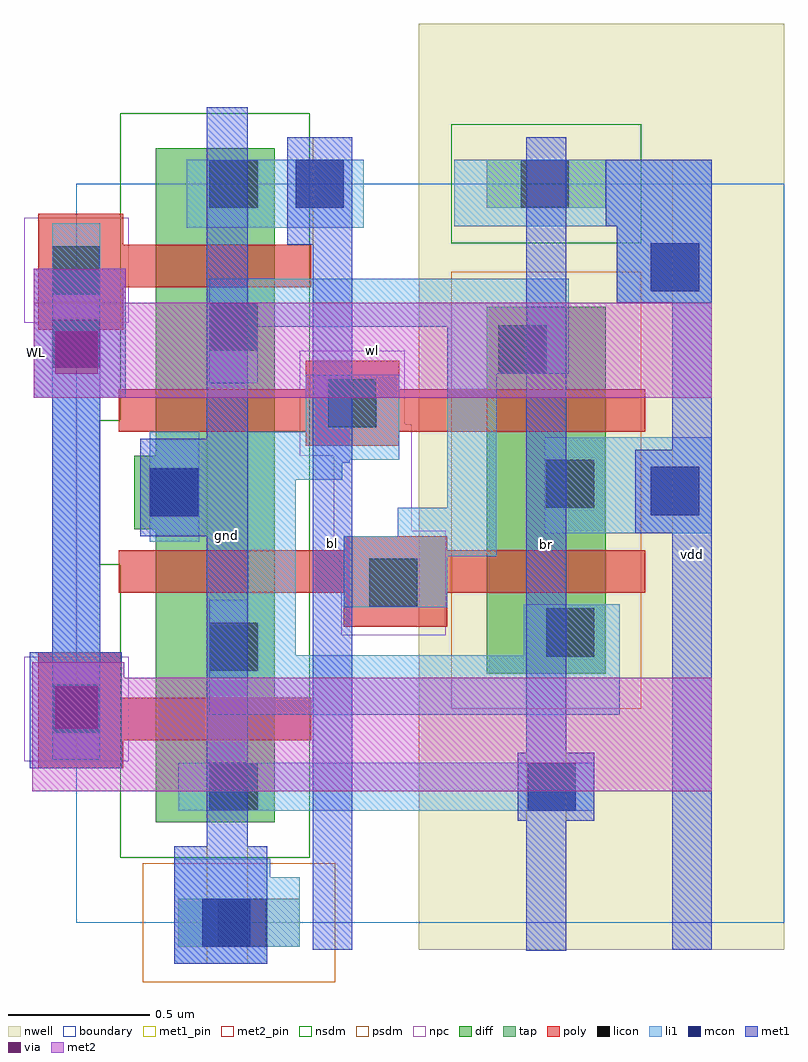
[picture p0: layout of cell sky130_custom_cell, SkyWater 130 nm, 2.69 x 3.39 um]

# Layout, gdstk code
import gdstk
lib = gdstk.Library(unit=1e-6, precision=1e-09)
def R(c, l, rs):  # rectangles x0, y0, x1, y1
    for r in rs: c.add(gdstk.rectangle(r[:2], r[2:], *l))
nwell = (64, 20)
diff = (65, 20)
tap = (65, 44)
poly = (66, 20)
licon = (66, 44)
li1 = (67, 20)
mcon = (67, 44)
met1_pin = (68, 16)
met1 = (68, 20)
via = (68, 44)
met2_pin = (69, 16)
met2 = (69, 20)
nsdm = (93, 44)
psdm = (94, 20)
npc = (95, 20)
boundary = (235, 4)

sky130_custom_cell = lib.new_cell('sky130_custom_cell')
R(sky130_custom_cell, nwell, [(1.21,-0.095,2.5,3.175)])
R(sky130_custom_cell, diff, [(0.28,0.355,0.7,1.39), (1.45,0.88,1.87,2.175), (0.205,1.39,0.7,1.65), (0.28,1.65,0.7,2.735)])
R(sky130_custom_cell, tap, [(0.36,-0.085,0.79,0.085), (1.45,2.525,1.87,2.695)])
R(sky130_custom_cell, poly, [(-0.135,0.545,0.165,0.645), (-0.135,0.645,0.83,0.795), (-0.135,0.795,0.16,0.955), (0.945,1.045,1.31,1.165), (0.15,1.165,2.01,1.315), (0.945,1.315,1.31,1.365), (0.81,1.685,1.14,1.735), (0.15,1.735,2.01,1.885), (0.81,1.885,1.14,1.985), (-0.135,2.095,0.165,2.245), (-0.135,2.245,0.83,2.395), (-0.135,2.395,0.165,2.505)])
R(sky130_custom_cell, licon, [(0.5,-0.085,0.67,0.085), (0.47,0.395,0.64,0.565), (-0.085,0.67,0.085,0.84), (0.47,0.89,0.64,1.06), (1.66,0.94,1.83,1.11), (1.035,1.115,1.205,1.285), (0.265,1.435,0.435,1.605), (1.66,1.465,1.83,1.635), (0.89,1.75,1.06,1.92), (1.49,1.94,1.66,2.11), (0.47,2.02,0.64,2.19), (-0.085,2.22,0.085,2.39), (0.47,2.525,0.64,2.695), (1.57,2.525,1.74,2.695)])
R(sky130_custom_cell, li1, [(0.345,-0.145,0.675,-0.085), (0.345,-0.085,0.79,0.16), (0.345,0.16,0.685,0.225), (0.36,0.395,1.83,0.565), (-0.085,0.575,0.085,2.47), (0.47,0.735,1.92,0.945), (0.47,0.945,0.775,1.14), (1.58,0.945,1.92,1.125), (0.945,1.115,1.31,1.295), (0.605,1.14,0.775,1.565), (0.945,1.295,1.485,1.365), (0.26,1.345,0.435,1.735), (1.135,1.365,1.485,1.465), (1.655,1.375,2.245,1.715), (1.31,1.465,1.485,1.94), (0.605,1.565,0.94,1.625), (0.605,1.625,0.965,1.635), (0.605,1.635,1.14,1.735), (0.81,1.735,1.14,1.935), (0.47,1.905,0.64,2.105), (1.31,1.94,1.74,2.105), (0.47,2.105,1.74,2.275), (1.91,2.19,2.245,2.46), (0.39,2.455,1.015,2.695), (1.335,2.46,2.245,2.695)])
R(sky130_custom_cell, mcon, [(0.445,-0.085,0.615,0.085), (1.595,0.395,1.765,0.565), (0.26,1.435,0.43,1.605), (2.03,1.44,2.2,1.61), (-0.085,1.96,0.085,2.13), (2.03,2.23,2.2,2.4), (0.775,2.525,0.945,2.695)])
R(sky130_custom_cell, met1_pin, [(0.46,-0.145,0.605,2.88), (1.59,-0.1,1.73,2.775), (0.835,-0.095,0.975,2.775), (2.105,-0.095,2.245,2.695)])
R(sky130_custom_cell, met1, [(0.345,-0.145,0.675,0.27), (1.59,-0.1,1.73,0.36), (0.835,-0.095,0.975,2.395), (2.105,-0.095,2.245,1.375), (0.46,0.27,0.605,1.365), (1.56,0.36,1.83,0.6), (-0.165,0.545,0.16,0.955), (1.59,0.6,1.73,2.775), (-0.085,0.955,0.085,1.855), (0.225,1.365,0.605,1.71), (1.975,1.375,2.245,1.67), (2.105,1.67,2.245,2.19), (0.46,1.71,0.605,2.88), (-0.15,1.855,0.175,2.31), (1.91,2.19,2.245,2.46), (0.745,2.395,0.975,2.775), (1.87,2.46,2.245,2.695)])
R(sky130_custom_cell, via, [(-0.075,0.685,0.075,0.835), (-0.075,1.94,0.075,2.09)])
R(sky130_custom_cell, met2_pin, [(-0.15,1.855,2.245,2.19)])
R(sky130_custom_cell, met2, [(-0.155,0.465,2.245,0.865), (-0.155,0.865,0.17,0.92), (-0.15,1.855,2.245,2.19), (-0.15,2.19,0.175,2.31)])
R(sky130_custom_cell, nsdm, [(0.155,0.23,0.825,1.265), (0.08,1.265,0.825,1.775), (0.155,1.775,0.825,2.86), (1.325,2.4,1.995,2.82)])
R(sky130_custom_cell, psdm, [(0.235,-0.21,0.915,0.21), (1.325,0.755,1.995,2.3)])
R(sky130_custom_cell, npc, [(-0.185,0.57,0.185,0.94), (0.935,1.015,1.305,1.275), (0.91,1.275,1.305,1.385), (0.91,1.385,1.185,1.65), (0.79,1.65,1.185,1.76), (0.79,1.76,1.16,2.02), (-0.185,2.12,0.185,2.49)])
R(sky130_custom_cell, boundary, [(0,0,2.5,2.61)])
sky130_custom_cell.add(gdstk.Label('bl', (0.905,1.34), layer=68, texttype=16))
sky130_custom_cell.add(gdstk.Label('br', (1.66,1.337), layer=68, texttype=16))
sky130_custom_cell.add(gdstk.Label('vdd', (2.175,1.3), layer=68, texttype=16))
sky130_custom_cell.add(gdstk.Label('gnd', (0.532,1.367), layer=68, texttype=16))
sky130_custom_cell.add(gdstk.Label('BL', (0.885,1.34), layer=68, texttype=16))
sky130_custom_cell.add(gdstk.Label('BR', (1.66,1.335), layer=68, texttype=16))
sky130_custom_cell.add(gdstk.Label('VGND', (0.53,1.365), layer=68, texttype=16))
sky130_custom_cell.add(gdstk.Label('VPWR', (2.175,1.3), layer=68, texttype=16))
sky130_custom_cell.add(gdstk.Label('wl', (1.047,2.022), layer=69, texttype=16))
sky130_custom_cell.add(gdstk.Label('WL', (-0.14,2.015), layer=69, texttype=16))

lib.write_gds('sky130_custom_cell.gds')
